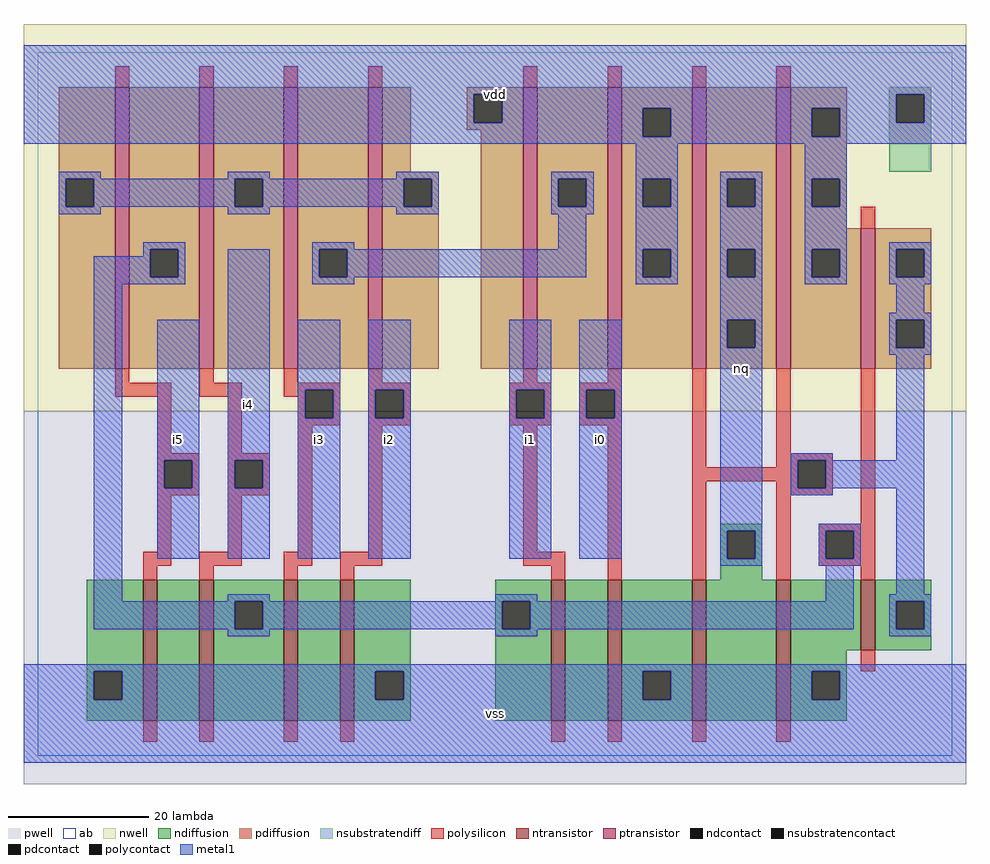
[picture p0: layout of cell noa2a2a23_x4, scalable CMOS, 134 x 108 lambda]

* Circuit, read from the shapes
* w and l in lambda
.subckt noa2a2a23_x4 i0 i1 i2 i3 i4 i5 nq vdd vss
M1 n1 i5 vss VSUBS nfet w=20 l=2
M2 n2 i4 n1 VSUBS nfet w=20 l=2
M3 n3 i3 n2 VSUBS nfet w=20 l=2
M4 vss i2 n3 VSUBS nfet w=20 l=2
M5 n4 i1 n2 VSUBS nfet w=20 l=2
M6 vss i0 n4 VSUBS nfet w=20 l=2
M7 nq n5 vss VSUBS nfet w=20 l=2 m=2
M8 n5 n2 vss VSUBS nfet w=10 l=2
M9 n2 i5 n6 vdd pfet w=40 l=2
M10 n6 i4 n2 vdd pfet w=40 l=2
M11 n7 i3 n6 vdd pfet w=40 l=2
M12 n6 i2 n7 vdd pfet w=40 l=2
M13 n7 i1 vdd vdd pfet w=40 l=2
M14 vdd i0 n7 vdd pfet w=40 l=2
M15 nq n5 vdd vdd pfet w=40 l=2 m=2
M16 n5 n2 vdd vdd pfet w=20 l=2
.ends

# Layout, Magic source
magic
tech scmos
<< ab >>
rect 0 0 130 100
<< pwell >>
rect -2 -4 132 49
<< nwell >>
rect -2 49 132 104
<< polysilicon >>
rect 11 95 13 98
rect 23 95 25 98
rect 35 95 37 98
rect 47 95 49 98
rect 69 95 71 98
rect 81 95 83 98
rect 93 95 95 98
rect 105 95 107 98
rect 117 75 119 78
rect 11 53 13 55
rect 23 53 25 55
rect 35 53 37 55
rect 47 53 49 55
rect 69 53 71 55
rect 81 53 83 55
rect 11 51 19 53
rect 23 51 29 53
rect 35 52 43 53
rect 35 51 38 52
rect 17 43 19 51
rect 27 43 29 51
rect 37 48 38 51
rect 42 48 43 52
rect 37 47 43 48
rect 47 52 53 53
rect 47 48 48 52
rect 52 48 53 52
rect 47 47 53 48
rect 67 52 73 53
rect 67 48 68 52
rect 72 48 73 52
rect 67 47 73 48
rect 77 52 83 53
rect 77 48 78 52
rect 82 48 83 52
rect 77 47 83 48
rect 17 42 23 43
rect 17 38 18 42
rect 22 38 23 42
rect 17 37 23 38
rect 27 42 33 43
rect 27 38 28 42
rect 32 38 33 42
rect 27 37 33 38
rect 17 29 19 37
rect 27 29 29 37
rect 37 29 39 47
rect 47 29 49 47
rect 15 27 19 29
rect 23 27 29 29
rect 35 27 39 29
rect 43 27 49 29
rect 69 29 71 47
rect 69 27 75 29
rect 15 25 17 27
rect 23 25 25 27
rect 35 25 37 27
rect 43 25 45 27
rect 73 25 75 27
rect 81 25 83 47
rect 93 41 95 55
rect 105 43 107 55
rect 105 42 113 43
rect 105 41 108 42
rect 93 39 108 41
rect 93 25 95 39
rect 105 38 108 39
rect 112 38 113 42
rect 105 37 113 38
rect 105 25 107 37
rect 117 33 119 55
rect 111 32 119 33
rect 111 28 112 32
rect 116 28 119 32
rect 111 27 119 28
rect 117 25 119 27
rect 117 12 119 15
rect 15 2 17 5
rect 23 2 25 5
rect 35 2 37 5
rect 43 2 45 5
rect 73 2 75 5
rect 81 2 83 5
rect 93 2 95 5
rect 105 2 107 5
<< ndiffusion >>
rect 97 32 103 33
rect 97 28 98 32
rect 102 28 103 32
rect 97 25 103 28
rect 7 12 15 25
rect 7 8 8 12
rect 12 8 15 12
rect 7 5 15 8
rect 17 5 23 25
rect 25 22 35 25
rect 25 18 28 22
rect 32 18 35 22
rect 25 5 35 18
rect 37 5 43 25
rect 45 12 53 25
rect 45 8 48 12
rect 52 8 53 12
rect 45 5 53 8
rect 65 22 73 25
rect 65 18 66 22
rect 70 18 73 22
rect 65 5 73 18
rect 75 5 81 25
rect 83 12 93 25
rect 83 8 86 12
rect 90 8 93 12
rect 83 5 93 8
rect 95 5 105 25
rect 107 15 117 25
rect 119 22 127 25
rect 119 18 122 22
rect 126 18 127 22
rect 119 15 127 18
rect 107 12 115 15
rect 107 8 110 12
rect 114 8 115 12
rect 107 5 115 8
<< pdiffusion >>
rect 3 82 11 95
rect 3 78 4 82
rect 8 78 11 82
rect 3 55 11 78
rect 13 72 23 95
rect 13 68 16 72
rect 20 68 23 72
rect 13 55 23 68
rect 25 82 35 95
rect 25 78 28 82
rect 32 78 35 82
rect 25 55 35 78
rect 37 72 47 95
rect 37 68 40 72
rect 44 68 47 72
rect 37 55 47 68
rect 49 83 53 95
rect 61 94 69 95
rect 61 90 62 94
rect 66 90 69 94
rect 61 89 69 90
rect 49 82 57 83
rect 49 78 52 82
rect 56 78 57 82
rect 49 55 57 78
rect 63 55 69 89
rect 71 82 81 95
rect 71 78 74 82
rect 78 78 81 82
rect 71 55 81 78
rect 83 92 93 95
rect 83 88 86 92
rect 90 88 93 92
rect 83 82 93 88
rect 83 78 86 82
rect 90 78 93 82
rect 83 72 93 78
rect 83 68 86 72
rect 90 68 93 72
rect 83 55 93 68
rect 95 82 105 95
rect 95 78 98 82
rect 102 78 105 82
rect 95 72 105 78
rect 95 68 98 72
rect 102 68 105 72
rect 95 62 105 68
rect 95 58 98 62
rect 102 58 105 62
rect 95 55 105 58
rect 107 92 115 95
rect 107 88 110 92
rect 114 88 115 92
rect 107 82 115 88
rect 107 78 110 82
rect 114 78 115 82
rect 107 75 115 78
rect 107 72 117 75
rect 107 68 110 72
rect 114 68 117 72
rect 107 55 117 68
rect 119 72 127 75
rect 119 68 122 72
rect 126 68 127 72
rect 119 62 127 68
rect 119 58 122 62
rect 126 58 127 62
rect 119 55 127 58
<< metal1 >>
rect -2 94 132 101
rect -2 90 62 94
rect 66 92 122 94
rect 66 90 86 92
rect -2 88 86 90
rect 90 88 110 92
rect 114 90 122 92
rect 126 90 132 94
rect 114 88 132 90
rect -2 87 132 88
rect 3 82 9 83
rect 27 82 33 83
rect 51 82 57 83
rect 3 78 4 82
rect 8 78 28 82
rect 32 78 52 82
rect 56 78 57 82
rect 3 77 9 78
rect 27 77 33 78
rect 51 77 57 78
rect 73 82 79 83
rect 73 78 74 82
rect 78 78 79 82
rect 73 77 79 78
rect 85 82 91 87
rect 85 78 86 82
rect 90 78 91 82
rect 15 72 21 73
rect 39 72 45 73
rect 74 72 78 77
rect 15 71 16 72
rect 8 68 16 71
rect 20 68 21 72
rect 8 67 21 68
rect 8 22 12 67
rect 17 42 23 62
rect 17 38 18 42
rect 22 38 23 42
rect 17 28 23 38
rect 27 42 33 72
rect 39 68 40 72
rect 44 68 78 72
rect 85 72 91 78
rect 85 68 86 72
rect 90 68 91 72
rect 39 67 45 68
rect 85 67 91 68
rect 97 82 103 83
rect 97 78 98 82
rect 102 78 103 82
rect 97 72 103 78
rect 97 68 98 72
rect 102 68 103 72
rect 97 62 103 68
rect 109 82 115 87
rect 109 78 110 82
rect 114 78 115 82
rect 109 72 115 78
rect 109 68 110 72
rect 114 68 115 72
rect 109 67 115 68
rect 121 72 127 73
rect 121 68 122 72
rect 126 68 127 72
rect 121 67 127 68
rect 122 63 126 67
rect 27 38 28 42
rect 32 38 33 42
rect 27 28 33 38
rect 37 52 43 62
rect 37 48 38 52
rect 42 48 43 52
rect 37 28 43 48
rect 47 52 53 62
rect 47 48 48 52
rect 52 48 53 52
rect 47 28 53 48
rect 67 52 73 62
rect 67 48 68 52
rect 72 48 73 52
rect 67 28 73 48
rect 77 52 83 62
rect 77 48 78 52
rect 82 48 83 52
rect 77 28 83 48
rect 97 58 98 62
rect 102 58 103 62
rect 97 32 103 58
rect 121 62 127 63
rect 121 58 122 62
rect 126 58 127 62
rect 121 57 127 58
rect 107 42 113 43
rect 122 42 126 57
rect 107 38 108 42
rect 112 38 126 42
rect 107 37 113 38
rect 97 28 98 32
rect 102 28 103 32
rect 97 27 103 28
rect 111 32 117 33
rect 111 28 112 32
rect 116 28 117 32
rect 111 27 117 28
rect 27 22 33 23
rect 65 22 71 23
rect 112 22 116 27
rect 122 23 126 38
rect 8 18 28 22
rect 32 18 66 22
rect 70 18 116 22
rect 121 22 127 23
rect 121 18 122 22
rect 126 18 127 22
rect 27 17 33 18
rect 65 17 71 18
rect 121 17 127 18
rect -2 12 132 13
rect -2 8 8 12
rect 12 8 48 12
rect 52 8 86 12
rect 90 8 110 12
rect 114 8 132 12
rect -2 -1 132 8
<< ntransistor >>
rect 15 5 17 25
rect 23 5 25 25
rect 35 5 37 25
rect 43 5 45 25
rect 73 5 75 25
rect 81 5 83 25
rect 93 5 95 25
rect 105 5 107 25
rect 117 15 119 25
<< ptransistor >>
rect 11 55 13 95
rect 23 55 25 95
rect 35 55 37 95
rect 47 55 49 95
rect 69 55 71 95
rect 81 55 83 95
rect 93 55 95 95
rect 105 55 107 95
rect 117 55 119 75
<< polycontact >>
rect 38 48 42 52
rect 48 48 52 52
rect 68 48 72 52
rect 78 48 82 52
rect 18 38 22 42
rect 28 38 32 42
rect 108 38 112 42
rect 112 28 116 32
<< ndcontact >>
rect 98 28 102 32
rect 8 8 12 12
rect 28 18 32 22
rect 48 8 52 12
rect 66 18 70 22
rect 86 8 90 12
rect 122 18 126 22
rect 110 8 114 12
<< pdcontact >>
rect 4 78 8 82
rect 16 68 20 72
rect 28 78 32 82
rect 40 68 44 72
rect 62 90 66 94
rect 52 78 56 82
rect 74 78 78 82
rect 86 88 90 92
rect 86 78 90 82
rect 86 68 90 72
rect 98 78 102 82
rect 98 68 102 72
rect 98 58 102 62
rect 110 88 114 92
rect 110 78 114 82
rect 110 68 114 72
rect 122 68 126 72
rect 122 58 126 62
<< nsubstratencontact >>
rect 122 90 126 94
<< nsubstratendiff >>
rect 121 94 127 95
rect 121 90 122 94
rect 126 90 127 94
rect 121 83 127 90
<< labels >>
rlabel metal1 20 45 20 45 6 i5
rlabel metal1 20 45 20 45 6 i5
rlabel metal1 40 45 40 45 6 i3
rlabel metal1 30 50 30 50 6 i4
rlabel metal1 30 50 30 50 6 i4
rlabel metal1 40 45 40 45 6 i3
rlabel metal1 65 6 65 6 6 vss
rlabel metal1 65 6 65 6 6 vss
rlabel metal1 50 45 50 45 6 i2
rlabel metal1 50 45 50 45 6 i2
rlabel metal1 70 45 70 45 6 i1
rlabel metal1 70 45 70 45 6 i1
rlabel metal1 65 94 65 94 6 vdd
rlabel metal1 65 94 65 94 6 vdd
rlabel metal1 80 45 80 45 6 i0
rlabel metal1 80 45 80 45 6 i0
rlabel metal1 100 55 100 55 6 nq
rlabel metal1 100 55 100 55 6 nq
<< end >>
